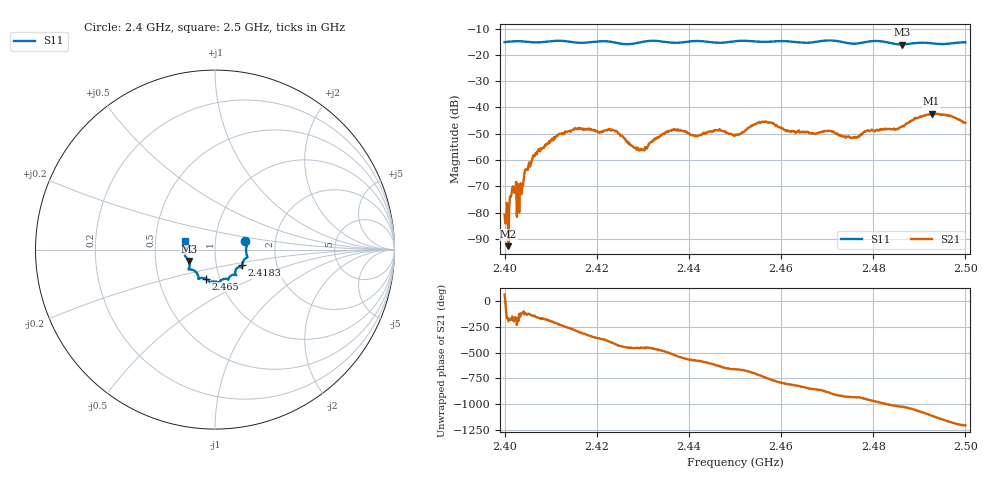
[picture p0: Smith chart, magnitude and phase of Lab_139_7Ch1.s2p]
# Hz S RI R 50
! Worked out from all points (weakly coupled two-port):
!   601 points, 2.4 GHz to 2.5 GHz, reference 50 ohm
!   highest |S21| = -42.35 dB at 2.4927 GHz (marker M1); lowest = -92.8 dB at 2.4008 GHz (marker M2)
!   lowest |S11| = -16.0 dB at 2.4862 GHz (marker M3), VSWR 1.37, Z = 37.1 - j4.83 ohm
!   |S11| at or under -10 dB: start of sweep to end of sweep
!   S12 and S22 are empty: the file has one direction only
!   S11 on the Smith chart (normalised r, x): 2.4 GHz: 1.40, +0.13; 2.4183 GHz: 1.33, -0.24; 2.465 GHz: 0.86, -0.29; 2.5 GHz: 0.71, +0.07
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2.4e9  0.1689 0.046  4.24e-05 7.93e-05  0 0  0 0
2.400833e9  0.1737 0.0413  -2.19e-05 6.64e-06  0 0  0 0
2.402e9  0.1784 0.0366  -0.000264 9.06e-05  0 0  0 0
2.403167e9  0.1801 0.0318  -5.68e-05 -8.28e-05  0 0  0 0
2.404833e9  0.1765 0.0204  -0.000476 -0.000474  0 0  0 0
2.407e9  0.1728 -0.00353  -0.0012 -0.000444  0 0  0 0
2.411667e9  0.1817 -0.0411  -0.00197 0.0023  0 0  0 0
2.416667e9  0.1554 -0.0685  0.0025 0.00311  0 0  0 0
2.418333e9  0.1501 -0.0871  0.00361 0.00167  0 0  0 0
2.423833e9  0.1437 -0.0965  0.00216 -0.00293  0 0  0 0
2.4295e9  0.1131 -0.1331  5.3e-06 -0.00164  0 0  0 0
2.433333e9  0.117 -0.1412  -0.00112 -0.00238  0 0  0 0
2.437e9  0.0901 -0.1446  -0.00372 -0.000902  0 0  0 0
2.45e9  0.0253 -0.1806  0.00161 0.00258  0 0  0 0
2.456167e9  -0.00235 -0.1772  0.00528 -0.00113  0 0  0 0
2.465e9  -0.0527 -0.1621  -0.00151 -0.00313  0 0  0 0
2.466667e9  -0.0714 -0.1578  -0.0022 -0.00245  0 0  0 0
2.4755e9  -0.1058 -0.1251  -0.00226 0.00141  0 0  0 0
2.483333e9  -0.1421 -0.0958  0.000945 0.00377  0 0  0 0
2.486167e9  -0.1446 -0.0634  0.00243 0.00354  0 0  0 0
2.492667e9  -0.1651 -0.0223  0.00664 -0.00375  0 0  0 0
2.5e9  -0.1668 0.0471  -0.00284 -0.00423  0 0  0 0
